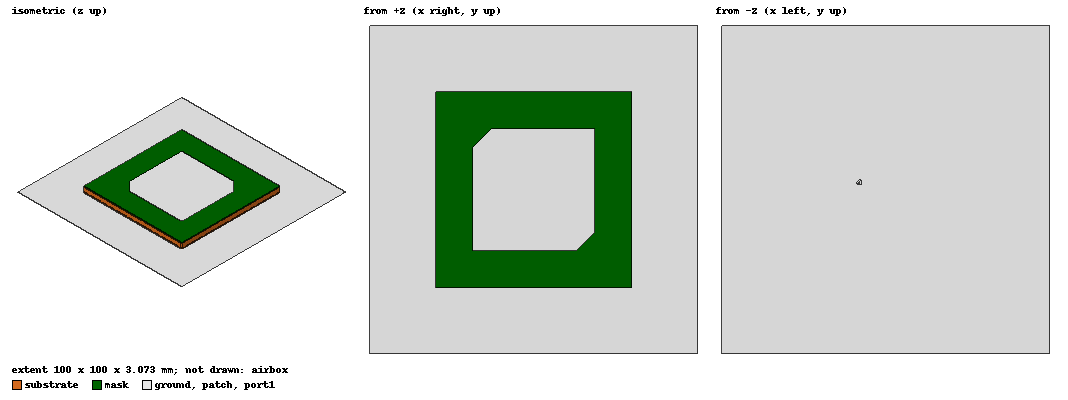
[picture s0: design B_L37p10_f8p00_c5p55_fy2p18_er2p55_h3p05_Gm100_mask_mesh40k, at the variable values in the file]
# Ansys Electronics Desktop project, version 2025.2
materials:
  vacuum: permittivity=1
  substrate_design: permittivity=2.55 permeability=1 dielectric_loss_tangent=0.0018
  solder_mask: permittivity=3.8 permeability=1 dielectric_loss_tangent=0.025
  copper: permeability=0.999991 conductivity=58000000
  pec: conductivity=1e+30

design B_L37p10_f8p00_c5p55_fy2p18_er2p55_h3p05_Gm100_mask_mesh40k (HFSS, HFSS Modal Network, model units mm)
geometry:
  substrate [substrate_design] = box(corner=(-30mm, -30mm, 0mm), size=(60mm, 60mm, 3.048mm))
  ground = rectangle(corner=(-50mm, -50mm, 0mm), x_size=100mm, y_size=100mm)
  hole1 = circle(normal=Z, centre=(8mm, 2.18mm, 0mm), radius=0.8mm)
  ground.subtract(hole1)
  patch = polyline(z=3.048mm, xy in mm: (-13, 18.55) (18.55, 18.55) (18.55, -13) (13, -18.55) (-18.55, -18.55) (-18.55, 13) (-13, 18.55), closed, covered)
  mask [solder_mask] = box(corner=(-30mm, -30mm, 3.048mm), size=(60mm, 60mm, 0.025mm))
  mask_opening = polyline(z=3.048mm, xy in mm: (-13, 18.55) (18.55, 18.55) (18.55, -13) (13, -18.55) (-18.55, -18.55) (-18.55, 13) (-13, 18.55), closed, covered)
  mask_opening.sweep_along_vector((0mm, 0mm, 0.025mm))
  mask.subtract(mask_opening)
  pin1 [pec] = cylinder(axis=Z, base_centre=(8mm, 2.18mm, 0mm), radius=0.25mm, height=3.048mm)
  pin1_1 = pin1.copy()
  substrate.subtract(pin1_1)
  port1 = circle(normal=Z, centre=(8mm, 2.18mm, 0mm), radius=0.8mm)
  inner1 = circle(normal=Z, centre=(8mm, 2.18mm, 0mm), radius=0.25mm)
  port1.subtract(inner1)
  airbox [vacuum] = box(corner=(-80.906439mm, -80.906439mm, -30.906439mm), size=(161.81288mm, 161.81288mm, 64.885878mm))
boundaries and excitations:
  Cu_sheets: Finite Conductivity Objects=[patch, ground] UseMaterial Material=copper Roughness=0mm IsInternal
  Rad__1UCMKS: Radiation Objects=airbox
  P1: Lumped Port Objects=port1 LumpedPortType=Modal Modes{Mode1{IntLine{(8.25, 2.18, 0) -> (8.8, 2.18, 0)} CharImp=Zpi RenormImp=50ohm}} Impedance=50ohm
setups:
  Setup1: HfssDriven Frequency=2.425GHz MaxDeltaS=1e-05 MaximumPasses=8 MinimumPasses=1 MinimumConvergedPasses=2 PercentRefinement=30 BasisOrder=1 PortAccuracy=2 DrivenSolverType="Direct Solver"
    sweep S: 2.2GHz to 2.65GHz, 901 points; Type=Interpolating InterpTolerance=0.5 InterpMaxSolns=250 InterpUsePortImped=false PassivityErrorTolerance=0.0001
    sweep FF: 2.365GHz to 2.485GHz step 0.005GHz; Type=Discrete SaveFields
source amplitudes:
  P1:1: 1W 0deg
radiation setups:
  ff: Infinite Sphere Theta=-180deg..180deg step 2deg Phi=0deg..90deg step 90deg
